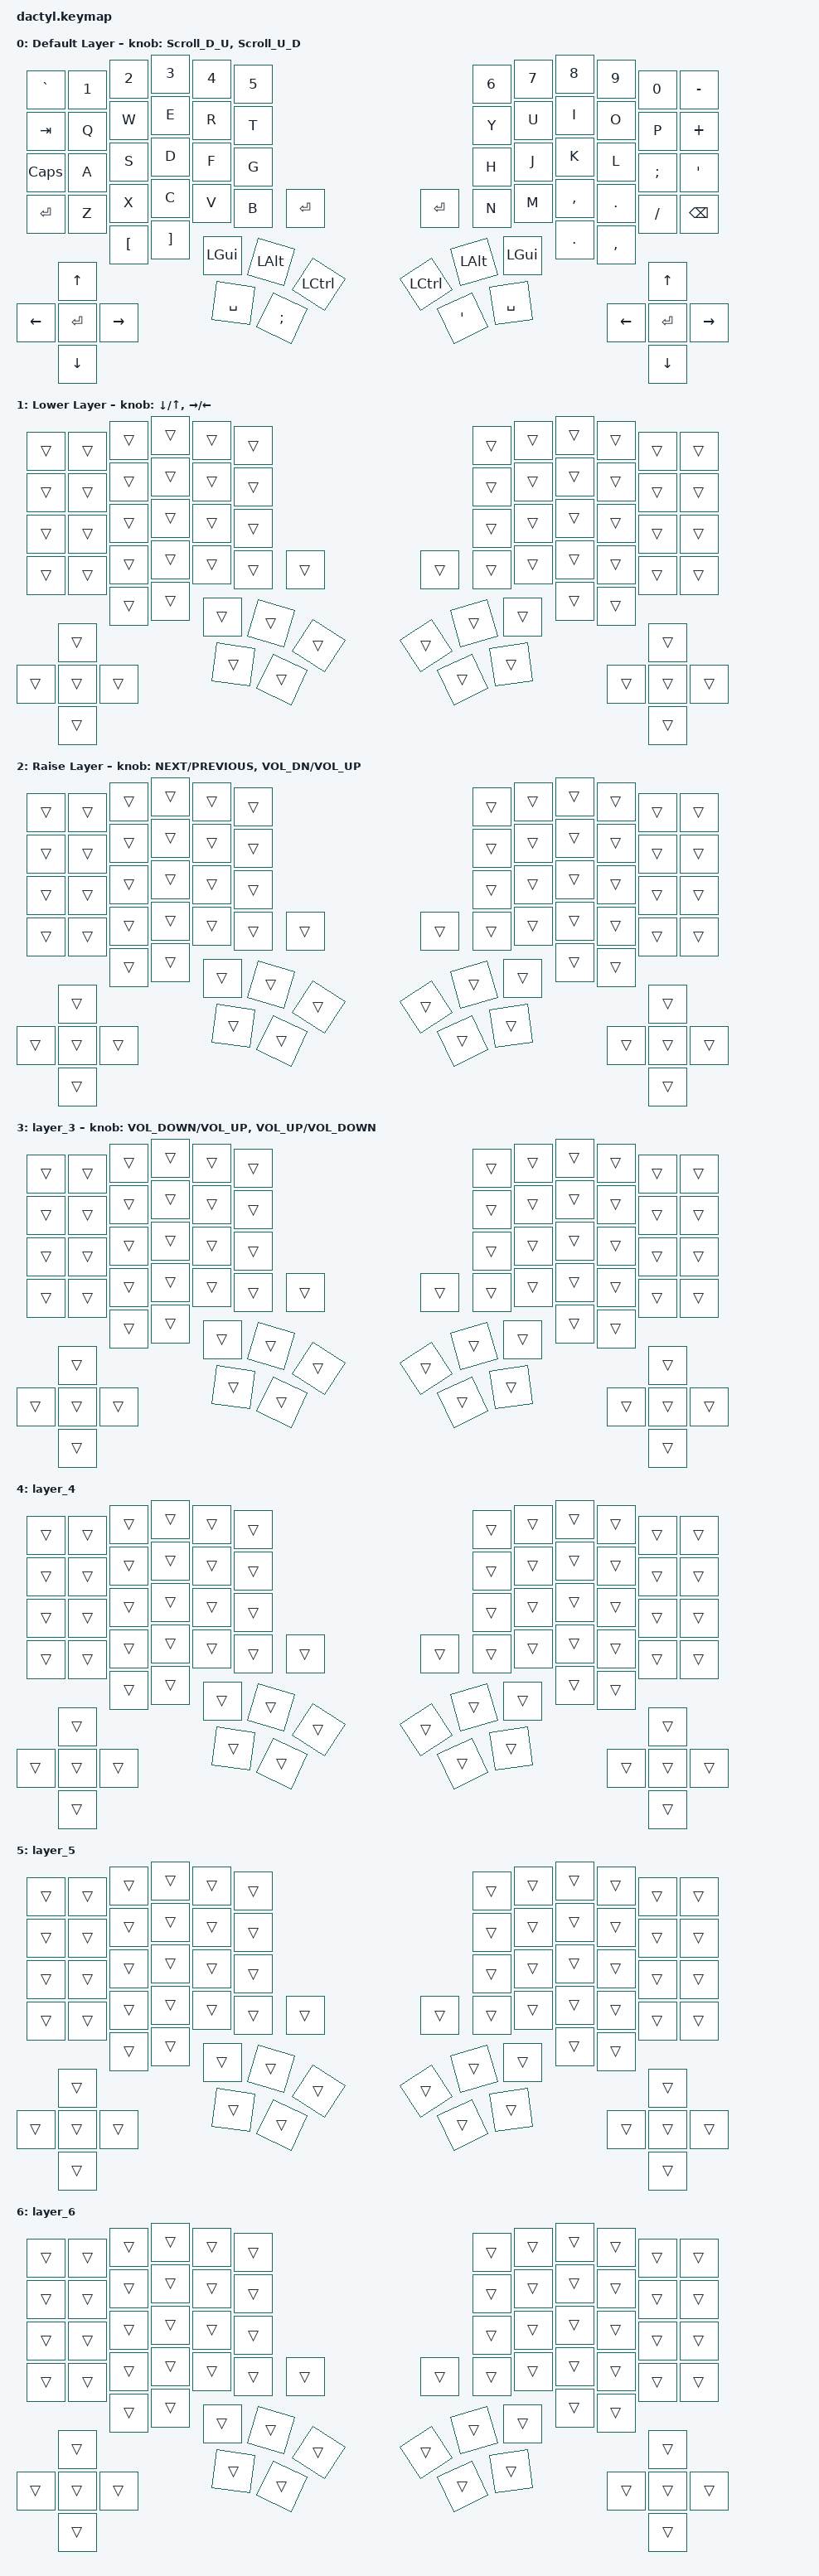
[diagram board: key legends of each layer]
/*
 * Copyright (c) 2020 The ZMK Contributors
 *
 * SPDX-License-Identifier: MIT
 */

#include <input/processors.dtsi>
#include <zephyr/dt-bindings/input/input-event-codes.h>
#include <dt-bindings/zmk/mouse.h>
#include <behaviors/mouse_keys.dtsi>
#include <behaviors.dtsi>
#include <dt-bindings/zmk/keys.h>
#include <dt-bindings/zmk/pointing.h>

#define ZMK_POINTING_DEFAULT_MOVE_VAL 1200  // 600
#define ZMK_POINTING_DEFAULT_SCRL_VAL 900   // mousescroll SPEED

&mmv_input_listener { input-processors = <&zip_xy_scaler 2 1>; };

&msc_input_listener { input-processors = <&zip_scroll_scaler 2 1>; };

&msc {
    acceleration-exponent = <1>;      // 0
    time-to-max-speed-ms = <100>;       // 300
    delay-ms = <0>;                   // 0
};

&mmv {
    time-to-max-speed-ms = <500>;
    acceleration-exponent = <1>;
    trigger-period-ms = <16>;
};

&soft_off {
    hold-time-ms = <3000>; // Only turn off it the key is held for 3 seconds or longer.
};

&mt {
    tapping-term-ms = <300>;
    flavor = "tap-preferred";
};

&lt { tapping-term-ms = <300>; };

/ {
    behaviors {
        Scroll_D_U: Scroll_D_U {
            compatible = "zmk,behavior-sensor-rotate";
            label = "SCROLL_D_U";
            #sensor-binding-cells = <0>;
            bindings = <&msc SCRL_DOWN>, <&msc SCRL_UP>;

            tap-ms = <20>;
        };

        TD01: TD01 {
            compatible = "zmk,behavior-tap-dance";
            label = "TD01";
            #binding-cells = <0>;
            bindings = <&kp MINUS>, <&kp PERIOD>;
        };

        Scroll_U_D: Scroll_U_D {
            compatible = "zmk,behavior-sensor-rotate";
            label = "SCROLL_U_D";
            #sensor-binding-cells = <0>;
            bindings = <&msc SCRL_UP>, <&msc SCRL_DOWN>;

            tap-ms = <20>;
        };

        Scroll_LR: Scroll_LR {
            compatible = "zmk,behavior-sensor-rotate";
            label = "SCROLL_LR";
            #sensor-binding-cells = <0>;
            bindings = <&msc SCRL_LEFT>, <&msc SCRL_RIGHT>;

            tap-ms = <20>;
        };

        Scroll_RL: Scroll_RL {
            compatible = "zmk,behavior-sensor-rotate";
            label = "SCROLL_RL";
            #sensor-binding-cells = <0>;
            bindings = <&msc SCRL_RIGHT>, <&msc SCRL_LEFT>;

            tap-ms = <20>;
        };
    };

    combos {
        compatible = "zmk,combos";

        boot {
            bindings = <&bootloader>;
            key-positions = <33 32 30>;
        };

        boot2 {
            bindings = <&bootloader>;
            key-positions = <36 37 39>;
        };
    };

    keymap {
        compatible = "zmk,keymap";

        default_layer {
            display-name = "Default Layer";
            bindings = <
&kp GRAVE  &kp N1  &kp N2    &kp N3    &kp N4     &kp N5                           &kp N6     &kp N7    &kp N8     &kp N9     &kp N0    &kp MINUS
&kp TAB    &kp Q   &kp W     &kp E     &kp R      &kp T                            &kp Y      &kp U     &kp I      &kp O      &kp P     &kp PLUS
&kp CAPS   &kp A   &kp S     &kp D     &kp F      &kp G                            &kp H      &kp J     &kp K      &kp L      &kp SEMI  &kp SQT
&kp RET    &kp Z   &kp X     &kp C     &kp V      &kp B      &kp RET    &kp RET    &kp N      &kp M     &kp COMMA  &kp DOT    &kp FSLH  &kp BSPC
                   &kp LBKT  &kp RBKT  &kp LGUI   &kp LALT   &kp LCTRL  &kp LCTRL  &kp LALT   &kp LGUI  &kp DOT    &kp COMMA
&kp LEFT   &kp UP  &kp RET   &kp DOWN  &kp RIGHT  &kp SPACE  &kp SEMI   &kp APOS   &kp SPACE  &kp LEFT  &kp DOWN   &kp RET    &kp UP    &kp RIGHT
            >;

            sensor-bindings = <&Scroll_D_U>, <&Scroll_U_D>;
        };

        lower_layer {
            display-name = "Lower Layer";
            bindings = <
&trans  &trans  &trans  &trans  &trans  &trans                  &trans  &trans  &trans  &trans  &trans  &trans
&trans  &trans  &trans  &trans  &trans  &trans                  &trans  &trans  &trans  &trans  &trans  &trans
&trans  &trans  &trans  &trans  &trans  &trans                  &trans  &trans  &trans  &trans  &trans  &trans
&trans  &trans  &trans  &trans  &trans  &trans  &trans  &trans  &trans  &trans  &trans  &trans  &trans  &trans
                &trans  &trans  &trans  &trans  &trans  &trans  &trans  &trans  &trans  &trans
&trans  &trans  &trans  &trans  &trans  &trans  &trans  &trans  &trans  &trans  &trans  &trans  &trans  &trans
            >;

            sensor-bindings =
                <&inc_dec_kp DOWN UP_ARROW>,
                <&inc_dec_kp RIGHT LEFT>;
        };

        raise_layer {
            display-name = "Raise Layer";
            bindings = <
&trans  &trans  &trans  &trans  &trans  &trans                  &trans  &trans  &trans  &trans  &trans  &trans
&trans  &trans  &trans  &trans  &trans  &trans                  &trans  &trans  &trans  &trans  &trans  &trans
&trans  &trans  &trans  &trans  &trans  &trans                  &trans  &trans  &trans  &trans  &trans  &trans
&trans  &trans  &trans  &trans  &trans  &trans  &trans  &trans  &trans  &trans  &trans  &trans  &trans  &trans
                &trans  &trans  &trans  &trans  &trans  &trans  &trans  &trans  &trans  &trans
&trans  &trans  &trans  &trans  &trans  &trans  &trans  &trans  &trans  &trans  &trans  &trans  &trans  &trans
            >;

            sensor-bindings =
                <&inc_dec_kp C_NEXT C_PREVIOUS>,
                <&inc_dec_kp C_VOL_DN C_VOL_UP>;
        };

        layer_3 {
            bindings = <
&trans  &trans  &trans  &trans  &trans  &trans                  &trans  &trans  &trans  &trans  &trans  &trans
&trans  &trans  &trans  &trans  &trans  &trans                  &trans  &trans  &trans  &trans  &trans  &trans
&trans  &trans  &trans  &trans  &trans  &trans                  &trans  &trans  &trans  &trans  &trans  &trans
&trans  &trans  &trans  &trans  &trans  &trans  &trans  &trans  &trans  &trans  &trans  &trans  &trans  &trans
                &trans  &trans  &trans  &trans  &trans  &trans  &trans  &trans  &trans  &trans
&trans  &trans  &trans  &trans  &trans  &trans  &trans  &trans  &trans  &trans  &trans  &trans  &trans  &trans
            >;

            sensor-bindings =
                <&inc_dec_kp C_VOLUME_DOWN C_VOLUME_UP>,
                <&inc_dec_kp C_VOLUME_UP C_VOLUME_DOWN>;
        };

        layer_4 {
            bindings = <
&trans  &trans  &trans  &trans  &trans  &trans                  &trans  &trans  &trans  &trans  &trans  &trans
&trans  &trans  &trans  &trans  &trans  &trans                  &trans  &trans  &trans  &trans  &trans  &trans
&trans  &trans  &trans  &trans  &trans  &trans                  &trans  &trans  &trans  &trans  &trans  &trans
&trans  &trans  &trans  &trans  &trans  &trans  &trans  &trans  &trans  &trans  &trans  &trans  &trans  &trans
                &trans  &trans  &trans  &trans  &trans  &trans  &trans  &trans  &trans  &trans
&trans  &trans  &trans  &trans  &trans  &trans  &trans  &trans  &trans  &trans  &trans  &trans  &trans  &trans
            >;
        };

        layer_5 {
            bindings = <
&trans  &trans  &trans  &trans  &trans  &trans                  &trans  &trans  &trans  &trans  &trans  &trans
&trans  &trans  &trans  &trans  &trans  &trans                  &trans  &trans  &trans  &trans  &trans  &trans
&trans  &trans  &trans  &trans  &trans  &trans                  &trans  &trans  &trans  &trans  &trans  &trans
&trans  &trans  &trans  &trans  &trans  &trans  &trans  &trans  &trans  &trans  &trans  &trans  &trans  &trans
                &trans  &trans  &trans  &trans  &trans  &trans  &trans  &trans  &trans  &trans
&trans  &trans  &trans  &trans  &trans  &trans  &trans  &trans  &trans  &trans  &trans  &trans  &trans  &trans
            >;
        };

        layer_6 {
            bindings = <
&trans  &trans  &trans  &trans  &trans  &trans                  &trans  &trans  &trans  &trans  &trans  &trans
&trans  &trans  &trans  &trans  &trans  &trans                  &trans  &trans  &trans  &trans  &trans  &trans
&trans  &trans  &trans  &trans  &trans  &trans                  &trans  &trans  &trans  &trans  &trans  &trans
&trans  &trans  &trans  &trans  &trans  &trans  &trans  &trans  &trans  &trans  &trans  &trans  &trans  &trans
                &trans  &trans  &trans  &trans  &trans  &trans  &trans  &trans  &trans  &trans
&trans  &trans  &trans  &trans  &trans  &trans  &trans  &trans  &trans  &trans  &trans  &trans  &trans  &trans
            >;
        };
    };
};
